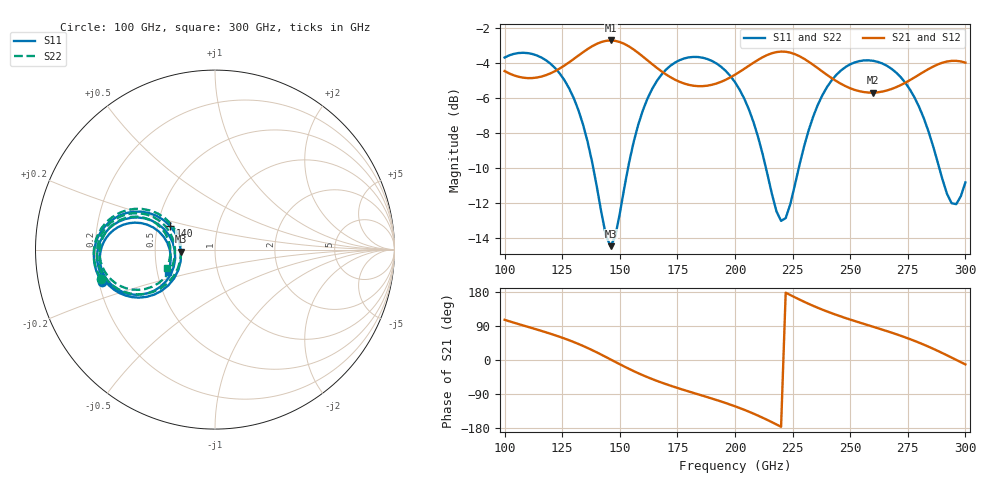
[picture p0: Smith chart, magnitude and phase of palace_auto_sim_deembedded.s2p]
! Created with skrf 1.11.0 (http://scikit-rf.org).
# GHz S DB R 50.0
!freq dBS11 angS11 dBS21 angS21 dBS12 angS12 dBS22 angS22
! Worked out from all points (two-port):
!   101 points, 100 GHz to 300 GHz, reference 50 ohm
!   highest |S21| = -2.69 dB at 146 GHz (marker M1); lowest = -5.7 dB at 260 GHz (marker M2)
!   |S21| within 3 dB of the highest: start of sweep to end of sweep
!   lowest |S11| = -14.4 dB at 146 GHz (marker M3), VSWR 1.47, Z = 34.1 - j0.825 ohm
!   |S11| at or under -10 dB: 138.5 GHz to 153.5 GHz (15.04 GHz wide, 10.3 % of centre); 213.5 GHz to 227.6 GHz (14.17 GHz wide, 6.43 % of centre); 288.7 GHz to end of sweep
!   |S22| runs from -14.5 to -3.4 dB; largest |S21 - S12| = 7.9e-14
!   S11 on the Smith chart (normalised r, x): 100 GHz: 0.21, -0.13; 140 GHz: 0.58, +0.17; 300 GHz: 0.57, -0.15
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100  -3.66 -164.1  -4.44 106.1  -4.44 106.1  -3.67 -165.7
108  -3.39 -175.3  -4.81 91.3  -4.81 91.3  -3.40 -177.0
116  -3.66 173.9  -4.75 76.8  -4.75 76.8  -3.67 172.1
126  -4.97 160.3  -4.12 56.7  -4.12 56.7  -4.97 158.3
134  -7.48 151.1  -3.36 37.2  -3.36 37.2  -7.49 148.9
140  -11.03 152.3  -2.88 20.2  -2.88 20.2  -11.05 150.0
146  -14.44 -176.5  -2.69 1.5  -2.69 1.5  -14.50 -178.8
156  -8.50 -142.3  -3.20 -29.2  -3.20 -29.2  -8.51 -144.6
168  -4.66 -155.6  -4.44 -59.3  -4.44 -59.3  -4.66 -158.1
184  -3.64 -176.5  -5.30 -90.6  -5.30 -90.6  -3.64 -179.3
200  -5.07 163.7  -4.65 -122.2  -4.65 -122.2  -5.08 160.6
210  -8.20 155.4  -3.80 -146.8  -3.80 -146.8  -8.21 152.1
220  -13.00 -178.5  -3.32 -176.2  -3.32 -176.2  -13.03 178.2
226  -10.94 -150.6  -3.47 165.4  -3.47 165.4  -10.96 -154.0
234  -7.02 -147.0  -4.09 142.8  -4.09 142.8  -7.03 -150.5
248  -4.20 -162.6  -5.30 110.7  -5.30 110.7  -4.21 -166.3
260  -3.85 -177.0  -5.67 87.6  -5.67 87.6  -3.86 179.0
268  -4.31 173.7  -5.46 72.1  -5.46 72.1  -4.32 169.6
276  -5.51 164.9  -4.95 55.0  -4.95 55.0  -5.51 160.6
284  -7.89 159.8  -4.32 35.2  -4.32 35.2  -7.91 155.4
294  -11.99 -179.7  -3.85 6.4  -3.85 6.4  -12.01 175.8
300  -10.80 -154.9  -3.95 -11.6  -3.95 -11.6  -10.82 -159.5
